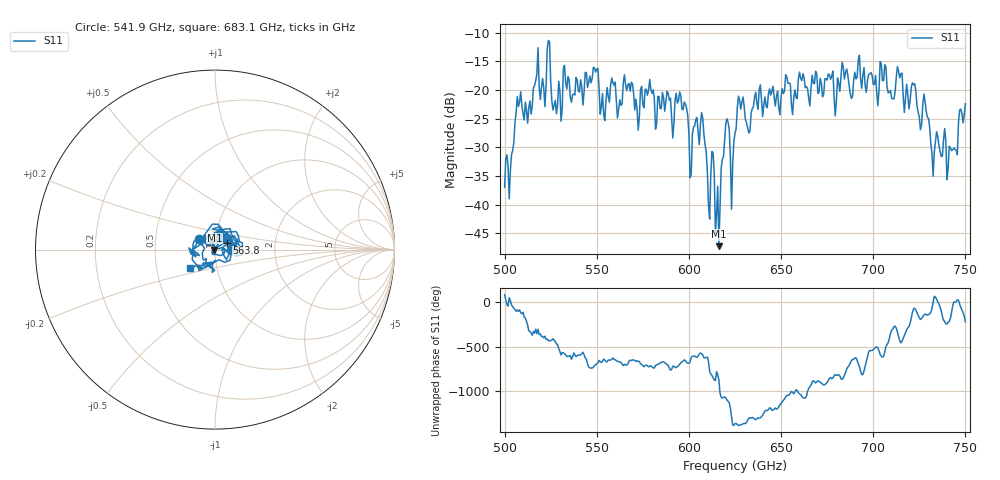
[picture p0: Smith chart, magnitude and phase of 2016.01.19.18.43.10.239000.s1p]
!Created with skrf (http://scikit-rf.org).
# GHz S RI R 50.0
!freq ReS11 ImS11
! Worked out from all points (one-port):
!   401 points, 500 GHz to 750 GHz, reference 50 ohm
!   lowest |S11| = -47.2 dB at 616.2 GHz (marker M1), VSWR 1.01, Z = 49.6 - j0.226 ohm
!   |S11| at or under -10 dB: start of sweep to end of sweep
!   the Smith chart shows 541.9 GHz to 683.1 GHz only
!   S11 on the Smith chart (normalised r, x): 541.9 GHz: 0.83, +0.10; 563.8 GHz: 1.14, +0.08; 683.1 GHz: 0.74, -0.16
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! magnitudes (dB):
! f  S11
! 500 GHz  -37.0
! 503.8 GHz  -31.2
! 507.5 GHz  -22.8
! 513.8 GHz  -21.9
! 516.9 GHz  -18.4
! 531.2 GHz  -23.2
! 541.9 GHz  -19.5
! 549.4 GHz  -16.9
! 553.1 GHz  -20.6
! 558.8 GHz  -18.7
! 562.5 GHz  -21.7
! 563.8 GHz  -22.4
! 593.8 GHz  -22.2
! 601.2 GHz  -34.7
! 607.5 GHz  -24.9
! 610.6 GHz  -40.1
! 616.2 GHz  -47.2
! 620.6 GHz  -25.0
! 623.1 GHz  -40.8
! 625 GHz  -27.5
! 628.1 GHz  -23.3
! 631.9 GHz  -26.6
! 656.2 GHz  -24.3
! 683.1 GHz  -15.1
! 687.5 GHz  -20.5
! 718.8 GHz  -20.8
! 741.2 GHz  -29.8
! 750 GHz  -22.4
